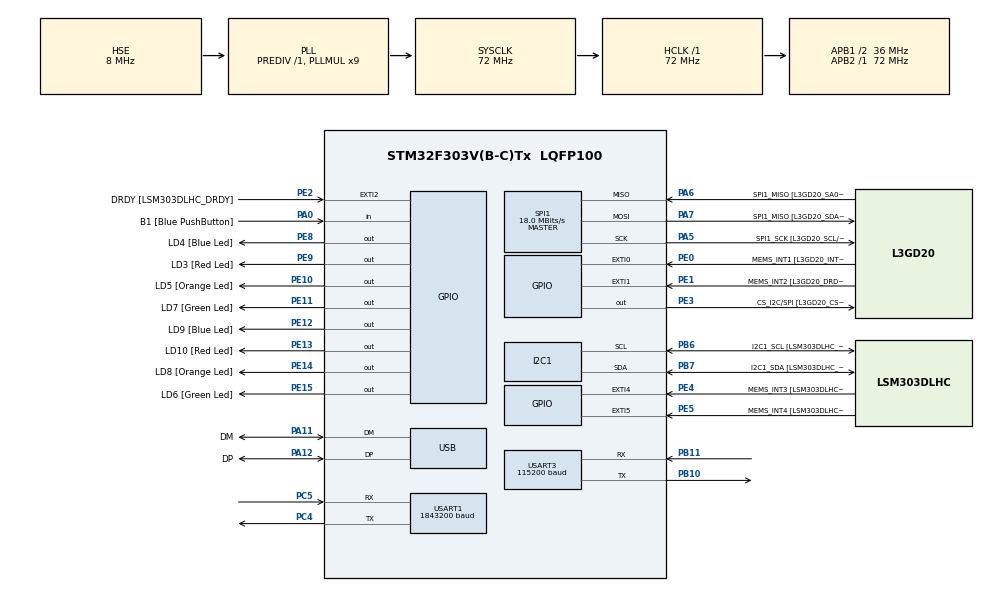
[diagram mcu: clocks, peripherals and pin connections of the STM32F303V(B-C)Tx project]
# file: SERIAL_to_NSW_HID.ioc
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Dma.Request0=USART1_RX
Dma.USART1_RX.0.Direction=DMA_PERIPH_TO_MEMORY
Dma.USART1_RX.0.Instance=DMA1_Channel5
Dma.USART1_RX.0.MemDataAlignment=DMA_MDATAALIGN_BYTE
Dma.USART1_RX.0.MemInc=DMA_MINC_ENABLE
Dma.USART1_RX.0.Mode=DMA_NORMAL
Dma.USART1_RX.0.PeriphDataAlignment=DMA_PDATAALIGN_BYTE
Dma.USART1_RX.0.PeriphInc=DMA_PINC_DISABLE
Dma.USART1_RX.0.Priority=DMA_PRIORITY_LOW
I2C1.Timing-I2C=0x2000090E
Mcu.Family=STM32F3
Mcu.Name=STM32F303V(B-C)Tx
Mcu.Package=LQFP100
NVIC.DMA1_Channel5_IRQn=true\:0\:0\:false\:false\:true\:false\:true\:true
NVIC.PriorityGroup=NVIC_PRIORITYGROUP_0
NVIC.USART1_IRQn=true\:0\:0\:true\:false\:true\:true\:true\:true
NVIC.USB_LP_CAN_RX0_IRQn=true\:0\:0\:false\:false\:true\:false\:true\:true
PA0.GPIO_Label=B1 [Blue PushButton]
PA0.Signal=GPIO_Input
PA11.GPIO_Label=DM
PA11.Mode=Device
PA11.Signal=USB_DM
PA12.GPIO_Label=DP
PA12.Mode=Device
PA12.Signal=USB_DP
PA13.GPIO_Label=SWDIO
PA13.Mode=Serial_Wire
PA13.Signal=SYS_JTMS-SWDIO
PA14.GPIO_Label=SWCLK
PA14.Mode=Serial_Wire
PA14.Signal=SYS_JTCK-SWCLK
PA5.GPIO_Label=SPI1_SCK [L3GD20_SCL/SPC]
PA5.Mode=Full_Duplex_Master
PA5.Signal=SPI1_SCK
PA6.GPIO_Label=SPI1_MISO [L3GD20_SA0/SDO]
PA6.Mode=Full_Duplex_Master
PA6.Signal=SPI1_MISO
PA7.GPIO_Label=SPI1_MISO [L3GD20_SDA/SDI/SDO]
PA7.Mode=Full_Duplex_Master
PA7.Signal=SPI1_MOSI
PB10.Mode=Asynchronous
PB10.Signal=USART3_TX
PB11.Mode=Asynchronous
PB11.Signal=USART3_RX
PB3.GPIO_Label=SWO
PB3.Signal=SYS_JTDO-TRACESWO
PB6.GPIO_Label=I2C1_SCL [LSM303DLHC_SCL]
PB6.GPIO_Pu=GPIO_PULLUP
PB6.Mode=I2C
PB6.Signal=I2C1_SCL
PB7.GPIO_Label=I2C1_SDA [LSM303DLHC_SDA]
PB7.GPIO_Pu=GPIO_PULLUP
PB7.Mode=I2C
PB7.Signal=I2C1_SDA
PC14-OSC32_IN.GPIO_Label=OSC32_IN
PC14-OSC32_IN.Signal=RCC_OSC32_IN
PC15-OSC32_OUT.GPIO_Label=OSC32_OUT
PC15-OSC32_OUT.Signal=RCC_OSC32_OUT
PC4.Mode=Asynchronous
PC4.Signal=USART1_TX
PC5.Mode=Asynchronous
PC5.Signal=USART1_RX
PE0.GPIO_Label=MEMS_INT1 [L3GD20_INT1]
PE0.GPIO_ModeDefaultEXTI=GPIO_MODE_EVT_RISING
PE0.Signal=GPXTI0
PE1.GPIO_Label=MEMS_INT2 [L3GD20_DRDY/INT2]
PE1.GPIO_ModeDefaultEXTI=GPIO_MODE_EVT_RISING
PE1.Signal=GPXTI1
PE10.GPIO_Label=LD5 [Orange Led]
PE10.Signal=GPIO_Output
PE11.GPIO_Label=LD7 [Green Led]
PE11.Signal=GPIO_Output
PE12.GPIO_Label=LD9 [Blue Led]
PE12.Signal=GPIO_Output
PE13.GPIO_Label=LD10 [Red Led]
PE13.Signal=GPIO_Output
PE14.GPIO_Label=LD8 [Orange Led]
PE14.Signal=GPIO_Output
PE15.GPIO_Label=LD6 [Green Led]
PE15.Signal=GPIO_Output
PE2.GPIO_Label=DRDY [LSM303DLHC_DRDY]
PE2.GPIO_ModeDefaultEXTI=GPIO_MODE_EVT_RISING
PE2.Signal=GPXTI2
PE3.GPIO_Label=CS_I2C/SPI [L3GD20_CS_I2C/SPI]
PE3.Signal=GPIO_Output
PE4.GPIO_Label=MEMS_INT3 [LSM303DLHC_INT1]
PE4.GPIO_ModeDefaultEXTI=GPIO_MODE_EVT_RISING
PE4.Signal=GPXTI4
PE5.GPIO_Label=MEMS_INT4 [LSM303DLHC_INT2]
PE5.GPIO_ModeDefaultEXTI=GPIO_MODE_EVT_RISING
PE5.Signal=GPXTI5
PE8.GPIO_Label=LD4 [Blue Led]
PE8.Signal=GPIO_Output
PE9.GPIO_Label=LD3 [Red Led]
PE9.Signal=GPIO_Output
PF0-OSC_IN.GPIO_Label=OSC_IN
PF0-OSC_IN.Mode=HSE-External-Oscillator
PF0-OSC_IN.Signal=RCC_OSC_IN
PF1-OSC_OUT.GPIO_Label=OSC_OUT
PF1-OSC_OUT.Mode=HSE-External-Oscillator
PF1-OSC_OUT.Signal=RCC_OSC_OUT
ProjectManager.HeapSize=0x200
ProjectManager.StackSize=0x400
ProjectManager.TargetToolchain=STM32CubeIDE
RCC.AHBFreq_Value=72000000
RCC.APB1CLKDivider=RCC_HCLK_DIV2
RCC.APB1Freq_Value=36000000
RCC.APB1TimFreq_Value=72000000
RCC.APB2Freq_Value=72000000
RCC.APB2TimFreq_Value=72000000
RCC.CortexFreq_Value=72000000
RCC.HCLKFreq_Value=72000000
RCC.HSE_VALUE=8000000
RCC.HSI_VALUE=8000000
RCC.LSE_VALUE=32768
RCC.PLLMUL=RCC_PLL_MUL9
RCC.PRESCALERUSB=RCC_USBCLKSOURCE_PLL_DIV1_5
RCC.SYSCLKFreq_VALUE=72000000
RCC.SYSCLKSourceVirtual=RCC_SYSCLKSOURCE_PLLCLK
RCC.USBFreq_Value=48000000
SPI1.BaudRatePrescaler=SPI_BAUDRATEPRESCALER_4
SPI1.BaudRatePrescaler-Full_Duplex_Master=SPI_BAUDRATEPRESCALER_2
SPI1.CalculateBaudRate=18.0 MBits/s
SPI1.CalculateBaudRate-Full_Duplex_Master=24.0 MBits/s
SPI1.Direction=SPI_DIRECTION_2LINES
SPI1.Mode=SPI_MODE_MASTER
SPI1.Mode-Full_Duplex_Master=SPI_MODE_MASTER
SPI1.VirtualType=VM_MASTER
USART1.BaudRate=1843200
USART1.VirtualMode-Asynchronous=VM_ASYNC
USART3.BaudRate=115200
USART3.VirtualMode-Asynchronous=VM_ASYNC
USB_DEVICE.CLASS_NAME_FS=HID
USB_DEVICE.MANUFACTURER_STRING=HORI CO.,LTD
USB_DEVICE.PID_HID_FS=0x0092
USB_DEVICE.PRODUCT_STRING_HID_FS=POKKEN CONTROLLER
USB_DEVICE.VID=0x0F0D
USB_DEVICE.VirtualMode=Hid
USB_DEVICE.VirtualModeFS=Hid_FS
VP_USB_DEVICE_VS_USB_DEVICE_HID_FS.Mode=HID_FS
board=STM32F3DISCOVERY

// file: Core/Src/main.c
/* USER CODE BEGIN Header */
/**
  ******************************************************************************
  * @file           : main.c
  * @brief          : Main program body
  ******************************************************************************
  * @attention
  *
  * Copyright (c) 2024 STMicroelectronics.
  * All rights reserved.
  *
  * This software is licensed under terms that can be found in the LICENSE file
  * in the root directory of this software component.
  * If no LICENSE file comes with this software, it is provided AS-IS.
  *
  ******************************************************************************
  */
/* USER CODE END Header */
#include "main.h"
#include "usb_device.h"

/* USER CODE BEGIN Includes */
#include "string.h"
#include "midisw.h"
/* USER CODE END Includes */

/* USER CODE BEGIN PD */
#define BUFFER_SIZE 64
#define BLOCK_COUNT 16
#define TIMEOUT 10 // Cicli di attesa: in caso di errori UART resetta l'interfaccia
/* USER CODE END PD */

I2C_HandleTypeDef hi2c1;

SPI_HandleTypeDef hspi1;

UART_HandleTypeDef huart1;
UART_HandleTypeDef huart3;
DMA_HandleTypeDef hdma_usart1_rx;

/* USER CODE BEGIN PV */
uint8_t circular_buffer[BLOCK_COUNT][BUFFER_SIZE];
uint8_t rx_buffer[BUFFER_SIZE] = {0};

char debug_buffer[30];
extern USB_JoystickReport_Input joystick_input;
volatile int tmp=0;

volatile uint16_t write_index = 0;
volatile uint16_t read_index = 0;
volatile uint8_t buffer_full = 0;
/* USER CODE END PV */

void SystemClock_Config(void);
static void MX_GPIO_Init(void);
static void MX_DMA_Init(void);
static void MX_I2C1_Init(void);
static void MX_SPI1_Init(void);
static void MX_USART1_UART_Init(void);
static void MX_USART3_UART_Init(void);

/* USER CODE BEGIN 0 */
void HAL_UART_RxCpltCallback(UART_HandleTypeDef *huart){
  tmp=0;
  memcpy(circular_buffer[write_index], rx_buffer, BUFFER_SIZE);
  write_index = (write_index + 1) % BLOCK_COUNT;
  if (write_index == read_index) {
      buffer_full = 1;
  }
  HAL_UART_Receive_DMA(&huart1, rx_buffer, BUFFER_SIZE);
}
/* USER CODE END 0 */

int main(void)
{

  /* MCU Configuration--------------------------------------------------------*/

  /* Reset of all peripherals, Initializes the Flash interface and the Systick. */
  HAL_Init();

  /* Configure the system clock */
  SystemClock_Config();

  /* Initialize all configured peripherals */
  MX_GPIO_Init();
  MX_DMA_Init();
  MX_I2C1_Init();
  MX_SPI1_Init();
  MX_USART1_UART_Init();
  MX_USB_DEVICE_Init();
  MX_USART3_UART_Init();
  /* USER CODE BEGIN 2 */
  ResetReport(&joystick_input);
  SendReport(&hUsbDeviceFS, &joystick_input);
  HAL_UART_Receive_DMA(&huart1, rx_buffer, BUFFER_SIZE);
  /* USER CODE END 2 */

  /* Infinite loop */
  while (1)
  {

    /* USER CODE BEGIN 3 */
	while ((read_index != write_index) || buffer_full) {
		tmp++;
		if(tmp>=1000){
			HAL_UART_DeInit(&huart1);
			MX_USART1_UART_Init();
			HAL_UART_Receive_DMA(&huart1, rx_buffer, BUFFER_SIZE);
		}
		serial_manager(circular_buffer[read_index]);
		read_index = (read_index + 1) % BLOCK_COUNT;
		if (buffer_full) {
			buffer_full = 0;
		}
	}
  }
  /* USER CODE END 3 */
}

void SystemClock_Config(void)
{
  RCC_OscInitTypeDef RCC_OscInitStruct = {0};
  RCC_ClkInitTypeDef RCC_ClkInitStruct = {0};
  RCC_PeriphCLKInitTypeDef PeriphClkInit = {0};

  /** Initializes the RCC Oscillators according to the specified parameters
  * in the RCC_OscInitTypeDef structure.
  */
  RCC_OscInitStruct.OscillatorType = RCC_OSCILLATORTYPE_HSI|RCC_OSCILLATORTYPE_HSE;
  RCC_OscInitStruct.HSEState = RCC_HSE_ON;
  RCC_OscInitStruct.HSEPredivValue = RCC_HSE_PREDIV_DIV1;
  RCC_OscInitStruct.HSIState = RCC_HSI_ON;
  RCC_OscInitStruct.HSICalibrationValue = RCC_HSICALIBRATION_DEFAULT;
  RCC_OscInitStruct.PLL.PLLState = RCC_PLL_ON;
  RCC_OscInitStruct.PLL.PLLSource = RCC_PLLSOURCE_HSE;
  RCC_OscInitStruct.PLL.PLLMUL = RCC_PLL_MUL9;
  if (HAL_RCC_OscConfig(&RCC_OscInitStruct) != HAL_OK)
  {
    Error_Handler();
  }

  /** Initializes the CPU, AHB and APB buses clocks
  */
  RCC_ClkInitStruct.ClockType = RCC_CLOCKTYPE_HCLK|RCC_CLOCKTYPE_SYSCLK
                              |RCC_CLOCKTYPE_PCLK1|RCC_CLOCKTYPE_PCLK2;
  RCC_ClkInitStruct.SYSCLKSource = RCC_SYSCLKSOURCE_PLLCLK;
  RCC_ClkInitStruct.AHBCLKDivider = RCC_SYSCLK_DIV1;
  RCC_ClkInitStruct.APB1CLKDivider = RCC_HCLK_DIV2;
  RCC_ClkInitStruct.APB2CLKDivider = RCC_HCLK_DIV1;

  if (HAL_RCC_ClockConfig(&RCC_ClkInitStruct, FLASH_LATENCY_2) != HAL_OK)
  {
    Error_Handler();
  }
  PeriphClkInit.PeriphClockSelection = RCC_PERIPHCLK_USB|RCC_PERIPHCLK_USART1
                              |RCC_PERIPHCLK_USART3|RCC_PERIPHCLK_I2C1;
  PeriphClkInit.Usart1ClockSelection = RCC_USART1CLKSOURCE_PCLK2;
  PeriphClkInit.Usart3ClockSelection = RCC_USART3CLKSOURCE_PCLK1;
  PeriphClkInit.I2c1ClockSelection = RCC_I2C1CLKSOURCE_HSI;
  PeriphClkInit.USBClockSelection = RCC_USBCLKSOURCE_PLL_DIV1_5;
  if (HAL_RCCEx_PeriphCLKConfig(&PeriphClkInit) != HAL_OK)
  {
    Error_Handler();
  }
}

static void MX_I2C1_Init(void)
{

  hi2c1.Instance = I2C1;
  hi2c1.Init.Timing = 0x2000090E;
  hi2c1.Init.OwnAddress1 = 0;
  hi2c1.Init.AddressingMode = I2C_ADDRESSINGMODE_7BIT;
  hi2c1.Init.DualAddressMode = I2C_DUALADDRESS_DISABLE;
  hi2c1.Init.OwnAddress2 = 0;
  hi2c1.Init.OwnAddress2Masks = I2C_OA2_NOMASK;
  hi2c1.Init.GeneralCallMode = I2C_GENERALCALL_DISABLE;
  hi2c1.Init.NoStretchMode = I2C_NOSTRETCH_DISABLE;
  if (HAL_I2C_Init(&hi2c1) != HAL_OK)
  {
    Error_Handler();
  }

  /** Configure Analogue filter
  */
  if (HAL_I2CEx_ConfigAnalogFilter(&hi2c1, I2C_ANALOGFILTER_ENABLE) != HAL_OK)
  {
    Error_Handler();
  }

  /** Configure Digital filter
  */
  if (HAL_I2CEx_ConfigDigitalFilter(&hi2c1, 0) != HAL_OK)
  {
    Error_Handler();
  }

}

static void MX_SPI1_Init(void)
{

  /* SPI1 parameter configuration*/
  hspi1.Instance = SPI1;
  hspi1.Init.Mode = SPI_MODE_MASTER;
  hspi1.Init.Direction = SPI_DIRECTION_2LINES;
  hspi1.Init.DataSize = SPI_DATASIZE_4BIT;
  hspi1.Init.CLKPolarity = SPI_POLARITY_LOW;
  hspi1.Init.CLKPhase = SPI_PHASE_1EDGE;
  hspi1.Init.NSS = SPI_NSS_SOFT;
  hspi1.Init.BaudRatePrescaler = SPI_BAUDRATEPRESCALER_4;
  hspi1.Init.FirstBit = SPI_FIRSTBIT_MSB;
  hspi1.Init.TIMode = SPI_TIMODE_DISABLE;
  hspi1.Init.CRCCalculation = SPI_CRCCALCULATION_DISABLE;
  hspi1.Init.CRCPolynomial = 7;
  hspi1.Init.CRCLength = SPI_CRC_LENGTH_DATASIZE;
  hspi1.Init.NSSPMode = SPI_NSS_PULSE_ENABLE;
  if (HAL_SPI_Init(&hspi1) != HAL_OK)
  {
    Error_Handler();
  }

}

static void MX_USART1_UART_Init(void)
{

  huart1.Instance = USART1;
  huart1.Init.BaudRate = 1843200;
  huart1.Init.WordLength = UART_WORDLENGTH_8B;
  huart1.Init.StopBits = UART_STOPBITS_1;
  huart1.Init.Parity = UART_PARITY_NONE;
  huart1.Init.Mode = UART_MODE_TX_RX;
  huart1.Init.HwFlowCtl = UART_HWCONTROL_NONE;
  huart1.Init.OverSampling = UART_OVERSAMPLING_16;
  huart1.Init.OneBitSampling = UART_ONE_BIT_SAMPLE_DISABLE;
  huart1.AdvancedInit.AdvFeatureInit = UART_ADVFEATURE_NO_INIT;
  if (HAL_UART_Init(&huart1) != HAL_OK)
  {
    Error_Handler();
  }

}

static void MX_USART3_UART_Init(void)
{

  huart3.Instance = USART3;
  huart3.Init.BaudRate = 115200;
  huart3.Init.WordLength = UART_WORDLENGTH_8B;
  huart3.Init.StopBits = UART_STOPBITS_1;
  huart3.Init.Parity = UART_PARITY_NONE;
  huart3.Init.Mode = UART_MODE_TX_RX;
  huart3.Init.HwFlowCtl = UART_HWCONTROL_NONE;
  huart3.Init.OverSampling = UART_OVERSAMPLING_16;
  huart3.Init.OneBitSampling = UART_ONE_BIT_SAMPLE_DISABLE;
  huart3.AdvancedInit.AdvFeatureInit = UART_ADVFEATURE_NO_INIT;
  if (HAL_UART_Init(&huart3) != HAL_OK)
  {
    Error_Handler();
  }

}

static void MX_DMA_Init(void)
{

  /* DMA controller clock enable */
  __HAL_RCC_DMA1_CLK_ENABLE();

  /* DMA interrupt init */
  /* DMA1_Channel5_IRQn interrupt configuration */
  HAL_NVIC_SetPriority(DMA1_Channel5_IRQn, 0, 0);
  HAL_NVIC_EnableIRQ(DMA1_Channel5_IRQn);

}

static void MX_GPIO_Init(void)
{
  GPIO_InitTypeDef GPIO_InitStruct = {0};

  /* GPIO Ports Clock Enable */
  __HAL_RCC_GPIOE_CLK_ENABLE();
  __HAL_RCC_GPIOC_CLK_ENABLE();
  __HAL_RCC_GPIOF_CLK_ENABLE();
  __HAL_RCC_GPIOA_CLK_ENABLE();
  __HAL_RCC_GPIOB_CLK_ENABLE();

  /*Configure GPIO pin Output Level */
  HAL_GPIO_WritePin(GPIOE, CS_I2C_SPI_Pin|LD4_Pin|LD3_Pin|LD5_Pin
                          |LD7_Pin|LD9_Pin|LD10_Pin|LD8_Pin
                          |LD6_Pin, GPIO_PIN_RESET);

  /*Configure GPIO pins : DRDY_Pin MEMS_INT3_Pin MEMS_INT4_Pin MEMS_INT1_Pin
                           MEMS_INT2_Pin */
  GPIO_InitStruct.Pin = DRDY_Pin|MEMS_INT3_Pin|MEMS_INT4_Pin|MEMS_INT1_Pin
                          |MEMS_INT2_Pin;
  GPIO_InitStruct.Mode = GPIO_MODE_EVT_RISING;
  GPIO_InitStruct.Pull = GPIO_NOPULL;
  HAL_GPIO_Init(GPIOE, &GPIO_InitStruct);

  /*Configure GPIO pins : CS_I2C_SPI_Pin LD4_Pin LD3_Pin LD5_Pin
                           LD7_Pin LD9_Pin LD10_Pin LD8_Pin
                           LD6_Pin */
  GPIO_InitStruct.Pin = CS_I2C_SPI_Pin|LD4_Pin|LD3_Pin|LD5_Pin
                          |LD7_Pin|LD9_Pin|LD10_Pin|LD8_Pin
                          |LD6_Pin;
  GPIO_InitStruct.Mode = GPIO_MODE_OUTPUT_PP;
  GPIO_InitStruct.Pull = GPIO_NOPULL;
  GPIO_InitStruct.Speed = GPIO_SPEED_FREQ_LOW;
  HAL_GPIO_Init(GPIOE, &GPIO_InitStruct);

  /*Configure GPIO pin : B1_Pin */
  GPIO_InitStruct.Pin = B1_Pin;
  GPIO_InitStruct.Mode = GPIO_MODE_INPUT;
  GPIO_InitStruct.Pull = GPIO_NOPULL;
  HAL_GPIO_Init(B1_GPIO_Port, &GPIO_InitStruct);

}

void Error_Handler(void)
{
  __disable_irq();
  while (1)
  {
  }
}
